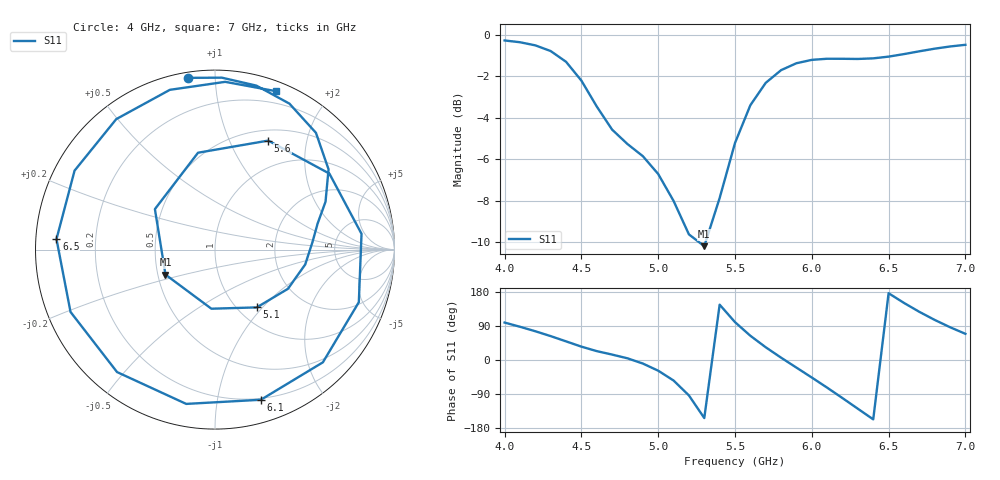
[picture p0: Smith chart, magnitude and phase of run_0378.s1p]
! Touchstone file exported from HFSS 2024.2.0
!  File:  C:/Users/wsak9/Desktop/Sim Fast/Widenad Patch/WP_AI_V1_sweep.aedt
!  Generated:  07:09:14 AM Oct 14, 2026
!  Design:  A1_model
!  Project:  WP_AI_V1_sweep
!  Setup:  Setup1
!  Solution:  Sweep
! Variables:
!  Air_gap = 2.11mm
!  Curve_Amp1 = 0.54
!  Curve_len1 = 1
!  Curve_pos = 10.98mm
!  Extra = 6.76mm
!  H_sub = 0.79mm
!  L_Patch = 17.96mm
!  L_Patch1 = 20.37mm
!  Sx = 2.27mm
!  Sy = 3.37mm
!  WS = 0.34mm
!  W_Patch = 10.91mm
!  W_Patch1 = 13.61mm
!Data is not renormalized
# GHz S MA
! Terminal data exported
! Port[1] = 1
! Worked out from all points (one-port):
!   31 points, 4 GHz to 7 GHz, reference per port
!   lowest |S11| = -10.2 dB at 5.3 GHz (marker M1), VSWR 1.89
!   |S11| at or under -10 dB: 5.265 GHz to 5.309 GHz (43.45 MHz wide, 0.822 % of centre)
!   S11 on the Smith chart (normalised r, x): 4 GHz: 0.03, +0.86; 5.1 GHz: 1.22, -0.93; 5.6 GHz: 0.63, +1.41; 6.1 GHz: 0.19, -1.33; 6.5 GHz: 0.06, +0.03; 7 GHz: 0.09, +1.45
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4  0.9682 98.8
4.2  0.9423 75.9
4.3  0.9129 63.0
4.4  0.8601 49.2
4.5  0.7747 35.3
4.6  0.671 23.4
4.8  0.5448 4.4
5  0.4614 -28.3
5.1  0.3974 -54.1
5.2  0.33 -93.5
5.3  0.3091 -153.2
5.4  0.4037 146.0
5.5  0.548 99.9
5.6  0.6759 64.0
5.7  0.7652 33.6
5.8  0.8211 6.1
5.9  0.8533 -20.1
6  0.8693 -46.3
6.1  0.8748 -73.0
6.2  0.8745 -100.6
6.3  0.8737 -128.7
6.4  0.8767 -156.7
6.5  0.8851 176.2
6.6  0.8977 150.7
6.7  0.9117 127.1
6.8  0.925 105.8
6.9  0.9364 86.5
7  0.9452 69.1
